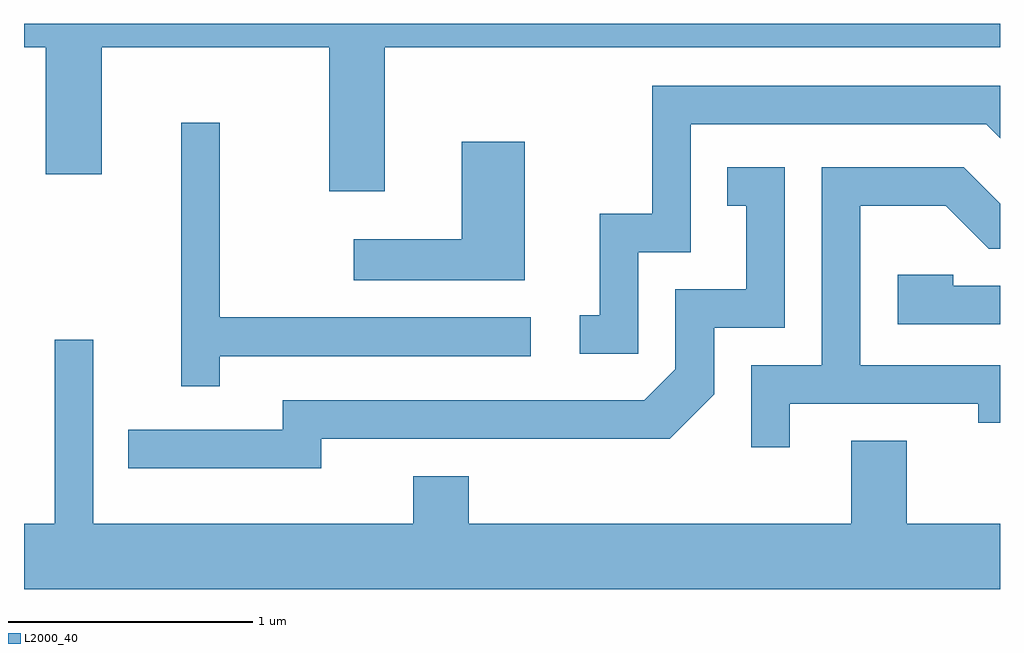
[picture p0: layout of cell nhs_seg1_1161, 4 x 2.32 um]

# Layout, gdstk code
import gdstk
lib = gdstk.Library(unit=1e-6, precision=1e-09)
def P(c, l, *ps):  # polygons
    for p in ps: c.add(gdstk.Polygon(p, *l))
L2000_40 = (2000, 40)

nhs_seg1_1161 = lib.new_cell('nhs_seg1_1161')
P(nhs_seg1_1161, L2000_40, [(223.089,859.616),(225.611,859.616),(225.611,859.712),(221.611,859.712),(221.611,859.616),(221.701,859.616),(221.701,859.096),(221.929,859.096),(221.929,859.616),(222.861,859.616),(222.861,859.026),(223.089,859.026)],
  [(224.129,858.776),(224.344,858.776),(224.344,859.301),(225.554,859.301),(225.611,859.244),(225.611,859.459),(224.186,859.459),(224.186,858.934),(223.971,858.934),(223.971,858.519),(223.888,858.519),(223.888,858.361),(224.129,858.361)],
  [(222.414,858.351),(223.688,858.351),(223.688,858.509),(222.414,858.509),(222.414,859.308),(222.256,859.308),(222.256,858.228),(222.414,858.228)],
  [(223.664,859.229),(223.406,859.229),(223.406,858.829),(222.963,858.829),(222.963,858.661),(223.664,858.661)],
  [(222.829,858.011),(224.257,858.011),(224.439,858.194),(224.439,858.466),(224.729,858.466),(224.729,859.124),(224.493,859.124),(224.493,858.966),(224.571,858.966),(224.571,858.624),(224.281,858.624),(224.281,858.297),(224.154,858.169),(222.671,858.169),(222.671,858.049),(222.038,858.049),(222.038,857.891),(222.829,857.891)],
  [(224.749,858.156),(225.521,858.156),(225.521,858.078),(225.611,858.078),(225.611,858.314),(225.039,858.314),(225.039,858.966),(225.389,858.966),(225.564,858.791),(225.611,858.791),(225.611,858.975),(225.462,859.124),(224.881,859.124),(224.881,858.314),(224.591,858.314),(224.591,857.978),(224.749,857.978)],
  [(225.611,858.639),(225.419,858.639),(225.419,858.684),(225.191,858.684),(225.191,858.481),(225.611,858.481)],
  [(225.611,857.664),(225.229,857.664),(225.229,858.004),(225.001,858.004),(225.001,857.664),(223.434,857.664),(223.434,857.859),(223.206,857.859),(223.206,857.664),(221.894,857.664),(221.894,858.418),(221.736,858.418),(221.736,857.664),(221.611,857.664),(221.611,857.396),(225.611,857.396)])

lib.write_gds('nhs_seg1_1161.gds')
